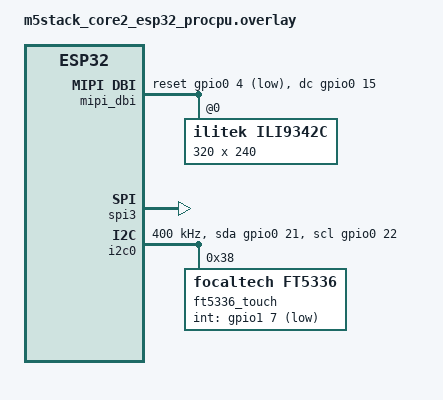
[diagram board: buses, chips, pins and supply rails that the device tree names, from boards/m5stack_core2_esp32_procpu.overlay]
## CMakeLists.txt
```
#REF: https://github.com/zephyrproject-rtos/zephyr/blob/main/samples/basic/threads/prj.conf 
cmake_minimum_required(VERSION 3.20.0)
find_package(Zephyr REQUIRED HINTS $ENV{ZEPHYR_BASE})
project(m5stack_gui_with_haptics)

# Add source files from both gui and haptics modules
target_sources(app PRIVATE 
    src/ui.c
    ../haptics/src/haptics.c
    ../gui/src/display.c
)

# Add include directories for both modules
target_include_directories(app PRIVATE 
    src
    ../haptics/src
    ../gui/src
)
```

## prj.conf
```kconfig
# General configuraiton.
CONFIG_PRINTK=y
CONFIG_GPIO=y
CONFIG_I2C=y
CONFIG_INPUT=y
CONFIG_INPUT_FT5336=y

# Display configuration.
CONFIG_SPI=y
CONFIG_DISPLAY=y
CONFIG_ILI9342C=y

# Power configuration.
CONFIG_REGULATOR=y
CONFIG_MIPI_DBI=y

# Extra configuration.
CONFIG_ASSERT=y
CONFIG_ESP32_USE_UNSUPPORTED_REVISION=y
```

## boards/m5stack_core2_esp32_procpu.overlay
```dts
/*
 * Device tree overlay for M5 Core 2 ILI9342C display
 */

#include <dt-bindings/gpio/gpio.h>

/ {
	chosen {
		zephyr,display = &ili9342c;
	};

	mipi_dbi {
		compatible = "zephyr,mipi-dbi-spi";
		spi-dev = <&spi3>;
		dc-gpios = <&gpio0 15 GPIO_ACTIVE_HIGH>;	/* DC pin */
		reset-gpios = <&gpio0 4 GPIO_ACTIVE_LOW>;	/* Reset pin - may need AXP192 control */
		#address-cells = <1>;
		#size-cells = <0>;

		ili9342c: ili9342c@0 {
			compatible = "ilitek,ili9342c";
			reg = <0>;
			//spi-max-frequency = <25000000>; /* 25 MHz max for ILI9342C */
			
			pixel-format = <0>; /* RGB565 */
			rotation = <0>;
			width = <320>;
			height = <240>;
			//display-inversion;
		};
	};
};

&spi3 {
	status = "okay";
	#address-cells = <1>;
	#size-cells = <0>;
	cs-gpios = <&gpio0 5 GPIO_ACTIVE_LOW>;	/* CS pin */
};

&i2c0 {
    status = "okay";
    clock-frequency = <400000>; 
    sda-gpios = <&gpio0 21 (GPIO_OPEN_DRAIN | GPIO_PULL_UP)>;
    scl-gpios = <&gpio0 22 (GPIO_OPEN_DRAIN | GPIO_PULL_UP)>;
    
    ft5336_touch: ft5336@38 {
        compatible = "focaltech,ft5336";
        reg = <0x38>;
        status = "okay";
        int-gpios = <&gpio1 7 GPIO_ACTIVE_LOW>;
        /* Remove reset GPIO for now to avoid AXP192 issues */
    };
};

/* Ensure both GPIO banks are enabled */
&gpio0 {
    status = "okay";
};

&gpio1 {
    status = "okay";
};
```

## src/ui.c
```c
#include <zephyr/kernel.h>
#include <zephyr/device.h>
#include <zephyr/drivers/display.h>
#include <zephyr/drivers/gpio.h>
#include <zephyr/sys/printk.h>
#include <zephyr/input/input.h>

#include "display.h"
#include "haptics.h"
#include "ui.h"

uint8_t display_update = 1;
uint8_t pressed = 0;

uint8_t station_index = DEFAULT_STATION_INDEX;
uint8_t record_timer_minutes = 1; // 0-9
uint8_t record_timer_seconds = 0; // 00-59

/**
 * 0 - Nothing
 * 1 - Valid Button Press
 * 2 - Invalid Button Press 
 * 3 - Manual Record Trigger
 * 4 - Emergency Record Trigger
 */
uint8_t haptic_response_case = 0;
uint8_t emergency_display_flag = 0;
uint8_t display_on_flag = 1;
uint8_t recording_start = 0;

// Shared variables for emergency sequence coordination
uint8_t emergency_cycle = 0;        // Current cycle state (0 or 1)
uint8_t emergency_count = 0;        // Current count (0-10)
uint8_t emergency_active = 0;       // Flag indicating emergency sequence is running
uint8_t previous_emergency_count = 0;

int main() {

    /* Setup touchscreen. */
    const struct device *touch_dev;
    touch_dev = DEVICE_DT_GET(DT_NODELABEL(ft5336_touch));
    if (!device_is_ready(touch_dev)) {
        printk("Touchscreen Setup Failed.\n");
        return -1;
    }

    display_init();
    haptics_init();
}

static void touch_input_callback(struct input_event *evt, void *user_data) {
    
    static int current_x = 0;
    static int current_y = 0;

    switch (evt->code) {
    case INPUT_ABS_X:
        current_y = evt->value;
        break;
    case INPUT_ABS_Y:
        current_x = evt->value;
        break;
    case INPUT_BTN_TOUCH:
        if (evt->value == 1 && !pressed) {

            printk("Touch PRESSED at (%d, %d)\n", current_x, current_y);
            pressed = 1;

            // Decrement station index:
            if (current_x > 105 && current_x < 155 && current_y > 18 && current_y < 80) {
                if (station_index > 0) {
                    station_index--;
                    haptic_response_case = VALID_BUTTON_PRESS;
                } else {
                    haptic_response_case = INVALID_BUTTON_PRESS;
                }

            // Increment station index:
            } else if (current_x > 250 && current_x < 315 && current_y > 18 && current_y < 80) {
                if (station_index < NUM_STATIONS - 1) {
                    station_index++;
                    haptic_response_case = VALID_BUTTON_PRESS;
                } else {
                    haptic_response_case = INVALID_BUTTON_PRESS;
                }

            // Decrement record timer:
            } else if (current_x > 105 && current_x < 165 && current_y > 95 && current_y < 155) {
                if (record_timer_seconds == 10 && record_timer_minutes == 0) {
                    haptic_response_case = INVALID_BUTTON_PRESS; // Min value, do nothing.
                } else {
                    haptic_response_case = VALID_BUTTON_PRESS;
                    if (record_timer_seconds >= 10) {
                        record_timer_seconds -= 10;
                    } else {
                        record_timer_minutes--;
                        record_timer_seconds += 50;
                    }
                }

            // Increment record timer:
            } else if (current_x > 250 && current_x < 315 && current_y > 95 && current_y < 155) {
                if (record_timer_minutes == 9 && record_timer_seconds >= 50) {
                    haptic_response_case = INVALID_BUTTON_PRESS; // Max value, do nothing.
                } else {
                    haptic_response_case = VALID_BUTTON_PRESS;
                    record_timer_seconds += 10;
                    if (record_timer_seconds >= 60) {
                        record_timer_minutes++;
                        record_timer_seconds = 0;
                    }
                }

            // Emergency button:
            } else if (current_x > 118 && current_x < 315 && current_y > 172 && current_y < 235) {
                emergency_display_flag = 1;
                recording_start = 1;
                haptic_response_case = EMERGENCY_RECORD_TRIGGER;
            }

        } else if (evt->value == 0 && pressed) {
            pressed = 0;
        }
        break;
    }
}

static void draw_display_background() {
    /* Header. */
    draw_rectangle(0, 0, 320, 12, BORDER_PURPLE);
    draw_text_8(8, 3, "CSSE4011        EMERGENCY ALERT SYSTEM", WHITE, BORDER_PURPLE);

    /* Section dividers. */
    for (int i = 0; i < 40; i++) {
        draw_rectangle(1+i*8, 86, 6, 3, BORDER_PURPLE);
        draw_rectangle(1+i*8, 163, 6, 3, BORDER_PURPLE);
    }

    draw_text_16(3, 30, "CENTER", WHITE, BLACK);
    draw_text_16(3, 50, "FREQ.", WHITE, BLACK);
    draw_text_16(185, 57, "MHz", WHITE, BLACK);

    draw_text_16(3, 107, "RECORD", WHITE, BLACK);
    draw_text_16(3, 127, "TIME", WHITE, BLACK);
    draw_text_16(178, 134, "mins", WHITE, BLACK);

    /* +/- Buttons. */
    draw_rectangle(111, 24, 50, 50, WHITE);
    draw_rectangle(113, 26, 46, 46, BORDER_PURPLE);
    draw_rectangle(258, 24, 50, 50, WHITE);
    draw_rectangle(260, 26, 46, 46, BORDER_PURPLE);

    draw_rectangle(111, 101, 50, 50, WHITE);
    draw_rectangle(113, 103, 46, 46, BORDER_PURPLE);
    draw_rectangle(258, 101, 50, 50, WHITE);
    draw_rectangle(260, 103, 46, 46, BORDER_PURPLE);

    /* Plus and minus symbols. */
    draw_rectangle(127, 47, 18, 3, WHITE);  
    draw_rectangle(274, 47, 18, 3, WHITE);  
    draw_rectangle(282, 40, 3, 18, WHITE);  
    draw_rectangle(127, 124, 18, 3, WHITE); 
    draw_rectangle(274, 124, 18, 3, WHITE); 
    draw_rectangle(282, 117, 3, 18, WHITE); 

    /* Emergency buttons. */
    draw_rectangle(124, 178, 184, 50, WHITE);
    draw_rectangle(126, 180, 180, 46, YELLOW);
    for (int i = 0; i < 6; i++) {
        draw_rectangle(139 + (i * 28), 180, 14, 46, BLACK);
    }
    draw_rectangle(126, 195, 180, 16, YELLOW);
    draw_text_16(144, 195, "EMERGENCY", BLACK, YELLOW);

}

static void draw_frequency(uint8_t station_index) {
    if (station_index > NUM_STATIONS - 1) {
        station_index = NUM_STATIONS - 1;
    }
    if (station_index <= 0) {
        station_index = 0;
    }
    draw_text_16(170, 32, stations[station_index], WHITE, BLACK);
}

static void draw_record_duration(uint8_t record_timer_minutes, 
                                 uint8_t record_timer_seconds) {
    if (record_timer_minutes > 9) {
        record_timer_minutes = 9;
    }
    if (record_timer_seconds > 59) {
        record_timer_seconds = 59;
    }
    
    static char time_str[5];  
    snprintf(time_str, sizeof(time_str), "%d:%02d", 
             record_timer_minutes, record_timer_seconds);
    draw_text_16(178, 109, time_str, WHITE, BLACK);
}

uint32_t get_record_duration_ms(uint8_t record_timer_minutes, 
                                uint8_t record_timer_seconds) {
    return (record_timer_minutes * 60 + record_timer_seconds) * 1000;
}

static void update_recording_status(uint8_t recording_status) {
    if (recording_status) {
        draw_text_8(167, 230, "RECORDING ON!", WHITE, BLACK);
    } else {
        draw_text_8(164, 230, "RECORDING OFF!", WHITE, BLACK);
    }
}

void haptics_thread() {
    // Wait for setup to finish.
    k_sleep(K_MSEC(1000));

    while(1) {
        k_sleep(K_MSEC(10));
        if (haptic_response_case > 0) {
            //printk("%d\n", haptic_response_case);
            switch(haptic_response_case) {
                case VALID_BUTTON_PRESS:
                    haptics_start_strength(99);
                    k_sleep(K_MSEC(120));
                    haptics_stop();
                    break;

                case INVALID_BUTTON_PRESS:
                    haptics_start_strength(99);
                    k_sleep(K_MSEC(100));
                    haptics_stop();
                    k_sleep(K_MSEC(150));
                    haptics_start_strength(99);
                    k_sleep(K_MSEC(100));
                    haptics_stop();
                    break;

                case MANUAL_RECORD_TRIGGER:
                    break;

                case EMERGENCY_RECORD_TRIGGER:

                    emergency_cycle = 0;
                    emergency_count = 0;
                    emergency_active = 1;
                    display_update = 0;
                    previous_emergency_count = emergency_count; 

                    while (emergency_count < 5) {
                        haptics_start();
                        
                        // Ramp up haptic strength
                        for (int strength = 1; strength <= 100; strength += 1) {
                            haptics_set_strength(strength);
                            k_sleep(K_MSEC(4));
                        }
                        // Ramp down haptic strength
                        for (int strength = 100; strength >= 1; strength -= 1) {
                            haptics_set_strength(strength);
                            k_sleep(K_MSEC(4));
                        }
                        haptics_stop();
                        k_sleep(K_MSEC(100));
                        
                        // Update cycle and count for display thread
                        emergency_cycle = !emergency_cycle;
                        emergency_count++;
                    }
                    
                    // Emergency sequence finished
                    emergency_active = 0;
                    emergency_display_flag = 0;
                    display_update = 1;
                    break;

                default:
                    break;
            }
            haptic_response_case = 0;
        }
    }
}

void display_thread() {
    // Wait for setup to finish.
    k_sleep(K_MSEC(1000));

    static uint32_t recording_start_time = 0;
    static uint32_t recording_duration_ms = 0;

    while(1) {

        if (recording_start) {
            if (recording_start_time == 0) {
                recording_start_time = k_uptime_get_32();
                recording_duration_ms = get_record_duration_ms(record_timer_minutes, record_timer_seconds);
                printk("Recording started for %d ms\n", recording_duration_ms);
            } else {
                uint32_t current_time = k_uptime_get_32();
                if ((current_time - recording_start_time) >= recording_duration_ms) {
                    printk("Recording finished\n");
                    recording_start = 0;
                    recording_start_time = 0; 
                }
            }
        } else {
            recording_start_time = 0;
        }

        // Handle emergency display - show continuously while active
        if (emergency_display_flag && emergency_active) {
            trig_emergency_warning(emergency_cycle);
        } else if (display_update) {
            // Only show normal display when not in emergency mode
            clear_buffer();
            draw_display_background();
            draw_frequency(station_index);
            draw_record_duration(record_timer_minutes, record_timer_seconds);
            update_recording_status(recording_start);
            send_buffer();
        }

        k_sleep(K_MSEC(DISPLAY_UPDATE_INTERVAL_MS));
    }
}

INPUT_CALLBACK_DEFINE(DEVICE_DT_GET(DT_NODELABEL(ft5336_touch)), 
                        touch_input_callback, NULL);

K_THREAD_DEFINE(haptics_thread_id, HAPTICS_THREAD_STACK_SIZE,
    haptics_thread, NULL, NULL, NULL,
    HAPTICS_THREAD_PRIORITY, 0, 0);

K_THREAD_DEFINE(display_thread_id, DISPLAY_THREAD_STACK_SIZE,
    display_thread, NULL, NULL, NULL,
    DISPLAY_THREAD_PRIORITY, 0, 0);
```

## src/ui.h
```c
#include <zephyr/kernel.h>
#include <zephyr/device.h>
#include <zephyr/input/input.h>

#define HAPTICS_THREAD_STACK_SIZE    4096
#define HAPTICS_THREAD_PRIORITY      5
#define DISPLAY_THREAD_STACK_SIZE    4096
#define DISPLAY_THREAD_PRIORITY      6

#define DEBOUNCE_INTERVAL_MS 20
#define DISPLAY_UPDATE_INTERVAL_MS 50

#define NOTHING 0
#define VALID_BUTTON_PRESS 1
#define INVALID_BUTTON_PRESS 2
#define MANUAL_RECORD_TRIGGER 3
#define EMERGENCY_RECORD_TRIGGER 4

#define DEFAULT_STATION_INDEX 2
#define NUM_STATIONS 10
static char* stations[NUM_STATIONS] = {
    " 93.3", " 96.5", " 97.3", "102.1",
    "103.7", "104.5", "105.3", "106.1",
    "106.9", "107.7"};

static void touch_input_callback(struct input_event *evt, void *user_data);
```
